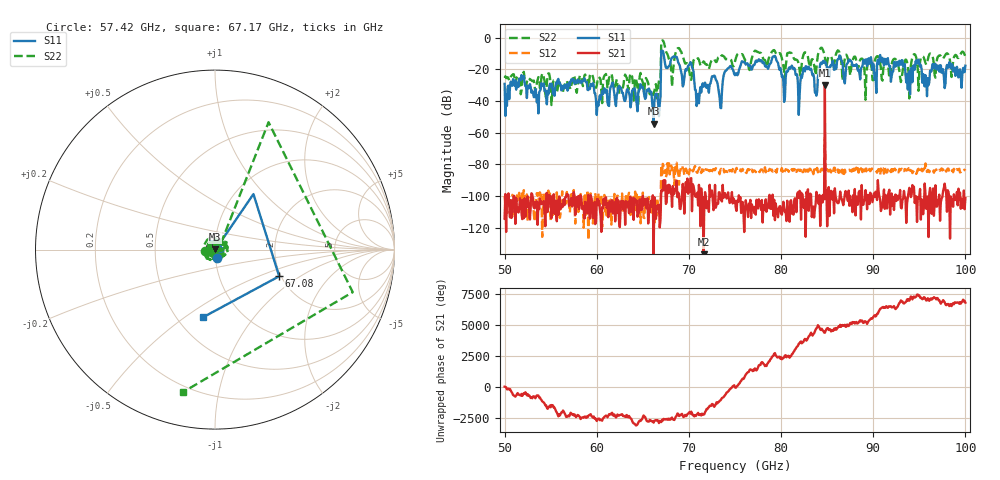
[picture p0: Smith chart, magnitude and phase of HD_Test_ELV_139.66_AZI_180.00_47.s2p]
! 11/25/2026 9:27:18 AM
! C:\ANRITSUVNA\TEMP\TEMP.S2P
! CHANNEL.1
! TR.MEASUREMENT
! RAW.DATA
# HZ S RI R 50.0
! FREQ.HZ  S11RE  S11IM  S21RE  S21IM  S12RE  S12IM  S22RE  S22IM
!; PortSelection: Port_12
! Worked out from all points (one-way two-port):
!   601 points, 50 GHz to 100 GHz, reference 50 ohm
!   highest |S21| = -29.93 dB at 84.75 GHz (marker M1); lowest = -140.0 dB at 71.58 GHz (marker M2)
!   lowest |S11| = -54.4 dB at 66.17 GHz (marker M3), VSWR 1.00, Z = 50.1 + j0.148 ohm
!   |S11| at or under -10 dB: start of sweep to 67 GHz; 67.24 GHz to end of sweep
!   |S22| runs from -42.6 to -1.8 dB; largest |S21 - S12| = 0.032
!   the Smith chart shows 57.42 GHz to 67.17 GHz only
!   S11 on the Smith chart (normalised r, x): 57.42 GHz: 1.02, -0.10; 67.08 GHz: 1.96, -0.68; 67.17 GHz: 0.67, -0.59
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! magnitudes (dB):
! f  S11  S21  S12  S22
! 50 GHz  -29.2  -114.3  -100.2  -25.4
! 57.42 GHz  -26.3  -104.2  -105.2  -25.2
! 58.42 GHz  -27.2  -108.3  -102.7  -29.0
! 60.17 GHz  -43.1  -105.8  -98.5  -24.8
! 66.17 GHz  -54.4  -137.0  -108.3  -35.4
! 66.67 GHz  -42.0  -107.9  -106.2  -32.2
! 67.08 GHz  -8.2  -97.1  -86.6  -1.9
! 67.17 GHz  -8.4  -96.7  -79.8  -1.8
! 68.08 GHz  -13.3  -96.0  -80.9  -20.9
! 68.83 GHz  -15.6  -97.9  -84.1  -6.6
! 70.25 GHz  -16.1  -88.8  -82.8  -26.7
! 70.92 GHz  -40.7  -98.0  -85.4  -13.3
! 71.58 GHz  -31.1  -140.0  -85.0  -15.0
! 75 GHz  -23.7  -103.0  -85.2  -15.0
! 79.25 GHz  -11.8  -102.4  -83.3  -7.9
! 80.25 GHz  -27.6  -103.7  -83.3  -17.6
! 83.42 GHz  -23.8  -109.7  -84.6  -13.6
! 84.75 GHz  -15.2  -29.9  -64.3  -11.8
! 91.67 GHz  -16.7  -97.8  -85.0  -20.4
! 94.83 GHz  -15.0  -100.9  -83.3  -20.3
! 95.83 GHz  -37.0  -106.7  -84.9  -15.9
! 100 GHz  -17.7  -101.4  -84.1  -12.1
